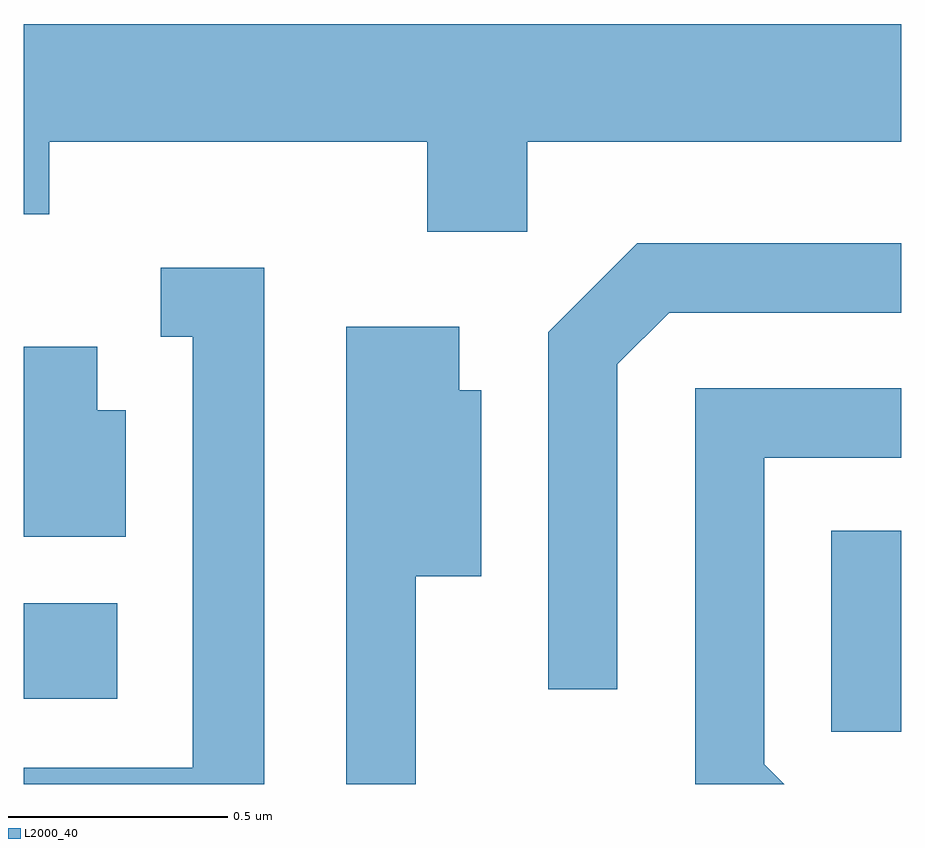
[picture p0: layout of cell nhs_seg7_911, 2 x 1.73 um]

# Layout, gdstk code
import gdstk
lib = gdstk.Library(unit=1e-6, precision=1e-09)
def R(c, l, rs):  # rectangles x0, y0, x1, y1
    for r in rs: c.add(gdstk.rectangle(r[:2], r[2:], *l))
def P(c, l, *ps):  # polygons
    for p in ps: c.add(gdstk.Polygon(p, *l))
L2000_40 = (2000, 40)

nhs_seg7_911 = lib.new_cell('nhs_seg7_911')
R(nhs_seg7_911, L2000_40, [(193.451,1757.371,193.611,1757.829), (191.611,1757.446,191.824,1757.664)])
P(nhs_seg7_911, L2000_40, [(192.759,1758.716),(193.611,1758.716),(193.611,1758.984),(191.611,1758.984),(191.611,1758.551),(191.669,1758.551),(191.669,1758.716),(192.531,1758.716),(192.531,1758.511),(192.759,1758.511)],
  [(192.964,1758.209),(193.082,1758.326),(193.611,1758.326),(193.611,1758.484),(193.009,1758.484),(192.806,1758.282),(192.806,1757.468),(192.964,1757.468)],
  [(192.159,1758.429),(191.923,1758.429),(191.923,1758.271),(191.996,1758.271),(191.996,1757.289),(191.611,1757.289),(191.611,1757.252),(192.159,1757.252)],
  [(192.504,1757.726),(192.654,1757.726),(192.654,1758.149),(192.604,1758.149),(192.604,1758.294),(192.346,1758.294),(192.346,1757.252),(192.504,1757.252)],
  [(191.844,1758.104),(191.779,1758.104),(191.779,1758.249),(191.611,1758.249),(191.611,1757.816),(191.844,1757.816)],
  [(193.299,1757.297),(193.299,1757.996),(193.611,1757.996),(193.611,1758.154),(193.141,1758.154),(193.141,1757.252),(193.344,1757.252)])

lib.write_gds('nhs_seg7_911.gds')
